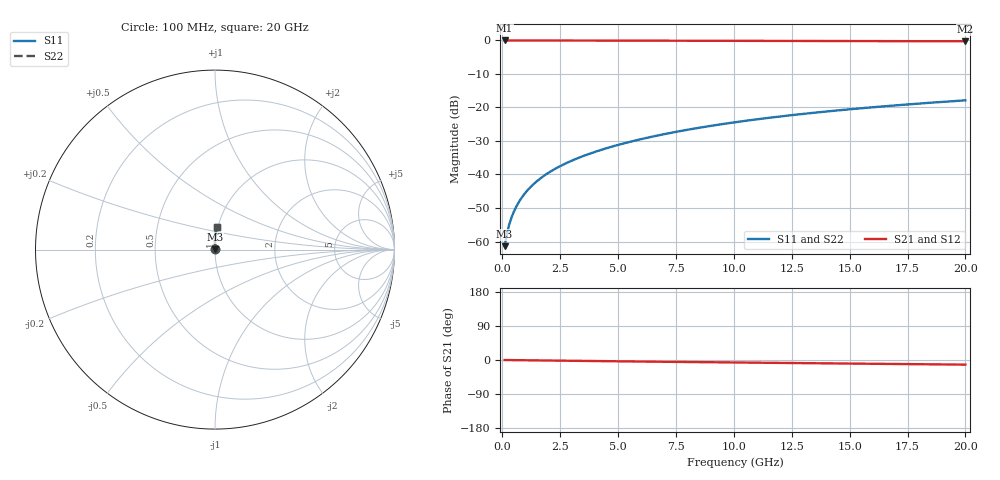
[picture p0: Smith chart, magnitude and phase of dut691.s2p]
! Touchstone file exported from HFSS 2024.1.0
!  File:  C:/UserFiles/LocalFiles/RDL_TSV_Batchsim/temp_RDL_bottom_691_1779787006.aedt
!  Generated:  05:19:06 PM May 26, 2026
!  Design:  RDL_bottom
!  Project:  temp_RDL_bottom_691_1779787006
!  Setup:  Setup1
!  Solution:  Sweep
! Variables:
!  dtsv = 10.80580581um
!  hbump = 3um
!  htsv = 93.76um
!  ldown = 151.18um
!  lrdl = 100um
!  p = 40
!  p1 = 50.9um
!  rhole = 1um
!  t = 450um
!  tdown = 4.74um
!  trdl = 3.915915916um
!  wdown = 25.34um
!  wrdl = 20um
# GHz S MA R 50.000000
! Terminal data exported
! Port[1] = RDL1_T1
! Port[2] = RDL1_T2
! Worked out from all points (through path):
!   200 points, 100 MHz to 20 GHz, reference 50 ohm
!   highest |S21| = -0.01 dB at 100 MHz (marker M1); lowest = -0.3 dB at 20 GHz (marker M2)
!   group delay of S21, straight-line fit = 1.67 ps
!   lowest |S11| = -61.4 dB at 100 MHz (marker M3), VSWR 1.00, Z = 50.1 + j0.0584 ohm
!   |S11| at or under -10 dB: start of sweep to end of sweep
!   |S22| runs from -61.4 to -17.9 dB; largest |S21 - S12| = 2.4e-15
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0.1  0.0008523 43.2  0.9994 -0.1  0.9994 -0.1  0.0008523 43.2
! Gamma 0 0 0 0
! Port Impedance 50 0 50 0
0.2  0.00131 59.7  0.9993 -0.1  0.9993 -0.1  0.00131 59.7
0.3  0.001794 67.4  0.9993 -0.2  0.9993 -0.2  0.001794 67.4
0.4  0.002285 72.1  0.9992 -0.3  0.9992 -0.3  0.002285 72.1
0.5  0.002784 75.3  0.9992 -0.4  0.9992 -0.4  0.002784 75.3
0.6  0.003289 77.6  0.9991 -0.4  0.9991 -0.4  0.003289 77.6
0.8  0.004312 80.7  0.9991 -0.6  0.9991 -0.6  0.004312 80.7
1.1  0.005869 83.6  0.9989 -0.8  0.9989 -0.8  0.005869 83.6
1.5  0.007971 85.8  0.9986 -1.1  0.9986 -1.1  0.007971 85.8
1.8  0.009564 87.0  0.9984 -1.3  0.9984 -1.3  0.009564 87.0
2.1  0.01117 87.9  0.9981 -1.5  0.9981 -1.5  0.01117 87.9
2.7  0.01443 89.2  0.9975 -1.9  0.9975 -1.9  0.01443 89.2
3.5  0.01889 90.3  0.9964 -2.5  0.9964 -2.5  0.01889 90.3
4.2  0.0229 91.1  0.9954 -2.9  0.9954 -2.9  0.0229 91.1
5  0.02762 91.6  0.9941 -3.5  0.9941 -3.5  0.02762 91.6
6.8  0.03875 92.0  0.991 -4.6  0.991 -4.6  0.03876 92.0
8.4  0.04914 91.7  0.9883 -5.6  0.9883 -5.6  0.04914 91.7
10.1  0.0605 90.9  0.9855 -6.6  0.9855 -6.6  0.0605 90.9
11.7  0.07136 89.9  0.983 -7.5  0.983 -7.5  0.07137 89.9
13.4  0.08299 88.7  0.9805 -8.5  0.9805 -8.5  0.08299 88.7
16.7  0.1055 86.3  0.9759 -10.4  0.9759 -10.4  0.1055 86.3
20  0.1278 83.8  0.9714 -12.2  0.9714 -12.2  0.1278 83.8
